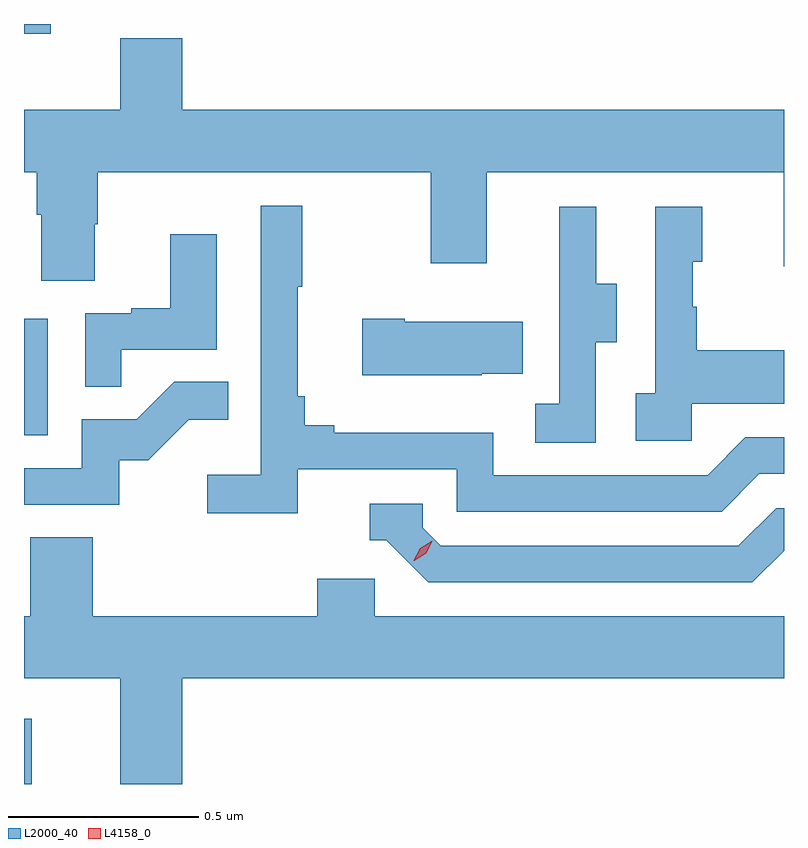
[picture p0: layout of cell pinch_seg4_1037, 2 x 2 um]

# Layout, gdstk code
import gdstk
lib = gdstk.Library(unit=1e-6, precision=1e-09)
def R(c, l, rs):  # rectangles x0, y0, x1, y1
    for r in rs: c.add(gdstk.rectangle(r[:2], r[2:], *l))
def P(c, l, *ps):  # polygons
    for p in ps: c.add(gdstk.Polygon(p, *l))
L2000_40 = (2000, 40)
L4158_0 = (4158, 0)

pinch_seg4_1037 = lib.new_cell('pinch_seg4_1037')
R(pinch_seg4_1037, L2000_40, [(824.095,777.894,824.115,778.066), (824.095,778.812,824.158,779.119), (824.095,779.868,824.165,779.894)])
P(pinch_seg4_1037, L2000_40, [(824.281,779.367),(824.289,779.367),(824.289,779.504),(825.166,779.504),(825.166,779.265),(825.313,779.265),(825.313,779.504),(826.094,779.504),(826.094,779.256),(826.095,779.256),(826.095,779.668),(824.512,779.668),(824.512,779.857),(824.348,779.857),(824.348,779.668),(824.095,779.668),(824.095,779.504),(824.129,779.504),(824.129,779.392),(824.141,779.392),(824.141,779.218),(824.281,779.218)],
  [(824.816,778.722),(825.234,778.722),(825.234,778.611),(825.931,778.611),(826.03,778.71),(826.095,778.71),(826.095,778.806),(825.993,778.806),(825.894,778.707),(825.33,778.707),(825.33,778.819),(824.911,778.819),(824.911,778.838),(824.834,778.838),(824.834,778.915),(824.815,778.915),(824.815,779.203),(824.827,779.203),(824.827,779.416),(824.718,779.416),(824.718,778.708),(824.577,778.708),(824.577,778.606),(824.816,778.606)],
  [(825.6,779.056),(825.655,779.056),(825.655,779.211),(825.601,779.211),(825.601,779.413),(825.503,779.413),(825.503,779.199),(825.504,779.199),(825.504,778.895),(825.441,778.895),(825.441,778.792),(825.6,778.792)],
  [(825.852,778.895),(826.095,778.895),(826.095,779.035),(825.865,779.035),(825.865,779.15),(825.855,779.15),(825.855,779.268),(825.88,779.268),(825.88,779.413),(825.756,779.413),(825.756,778.922),(825.705,778.922),(825.705,778.797),(825.852,778.797)],
  [(824.351,779.037),(824.602,779.037),(824.602,779.341),(824.48,779.341),(824.48,779.146),(824.377,779.146),(824.377,779.133),(824.256,779.133),(824.256,778.939),(824.351,778.939)],
  [(825.299,778.973),(825.407,778.973),(825.407,779.11),(825.097,779.11),(825.097,779.118),(824.985,779.118),(824.985,778.97),(825.299,778.97)],
  [(824.346,778.746),(824.422,778.746),(824.529,778.853),(824.633,778.853),(824.633,778.952),(824.49,778.952),(824.392,778.854),(824.247,778.854),(824.247,778.725),(824.095,778.725),(824.095,778.629),(824.346,778.629)],
  [(826.095,778.508),(826.095,778.62),(826.074,778.62),(825.975,778.521),(825.192,778.521),(825.144,778.569),(825.144,778.632),(825.005,778.632),(825.005,778.536),(825.048,778.536),(825.159,778.425),(826.012,778.425)],
  [(824.512,778.172),(826.095,778.172),(826.095,778.336),(825.018,778.336),(825.018,778.434),(824.867,778.434),(824.867,778.336),(824.276,778.336),(824.276,778.544),(824.111,778.544),(824.111,778.336),(824.095,778.336),(824.095,778.172),(824.348,778.172),(824.348,777.894),(824.512,777.894)])
P(pinch_seg4_1037, L4158_0, [(825.121,778.482),(825.121,778.483),(825.138,778.515),(825.169,778.534),(825.169,778.534),(825.169,778.534),(825.153,778.501),(825.122,778.482)])

lib.write_gds('pinch_seg4_1037.gds')
